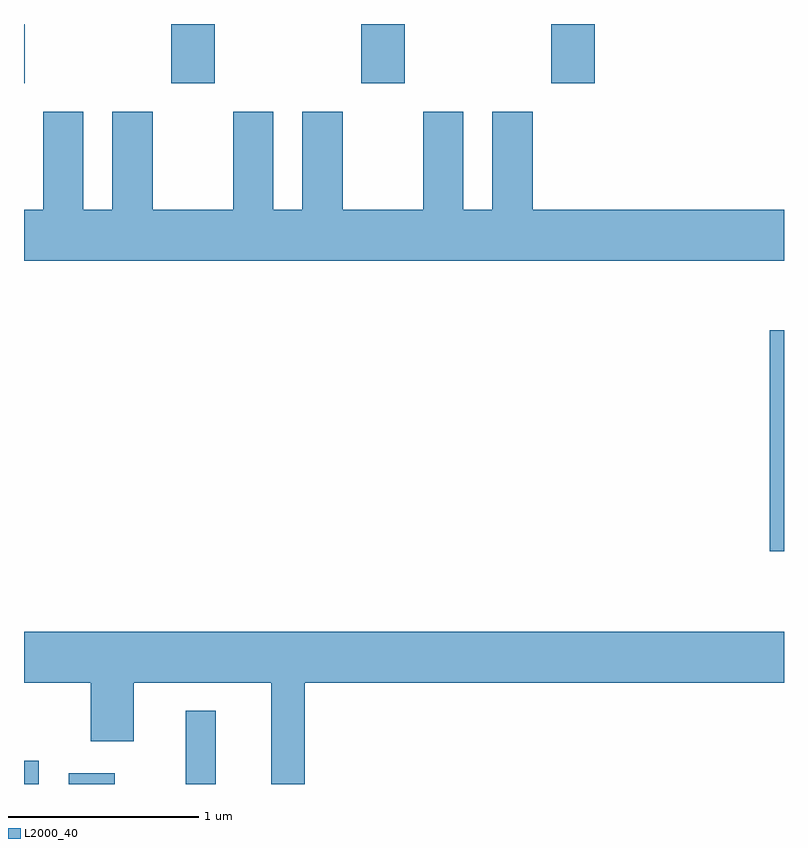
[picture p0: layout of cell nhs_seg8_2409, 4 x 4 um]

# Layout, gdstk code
import gdstk
lib = gdstk.Library(unit=1e-6, precision=1e-09)
def R(c, l, rs):  # rectangles x0, y0, x1, y1
    for r in rs: c.add(gdstk.rectangle(r[:2], r[2:], *l))
def A(c, l, x, y, w, h, nx, ny, dx, dy):  # array of equal rectangles
    R(c, l, [(x+i*dx, y+j*dy, x+i*dx+w, y+j*dy+h) for i in range(nx) for j in range(ny)])
def P(c, l, *ps):  # polygons
    for p in ps: c.add(gdstk.Polygon(p, *l))
L2000_40 = (2000, 40)

nhs_seg8_2409 = lib.new_cell('nhs_seg8_2409')
A(nhs_seg8_2409, L2000_40, 258.386, 1824.031, 0.228, 0.311, 3, 1, 1, 0)
R(nhs_seg8_2409, L2000_40, [(257.611,1820.342,257.689,1820.464), (257.846,1820.342,258.089,1820.399), (258.461,1820.342,258.619,1820.728), (261.536,1821.566,261.611,1822.729), (257.611,1824.031,257.614,1824.342)])
P(nhs_seg8_2409, L2000_40, [(261.611,1823.364),(260.289,1823.364),(260.289,1823.879),(260.076,1823.879),(260.076,1823.364),(259.924,1823.364),(259.924,1823.879),(259.711,1823.879),(259.711,1823.364),(259.289,1823.364),(259.289,1823.879),(259.076,1823.879),(259.076,1823.364),(258.924,1823.364),(258.924,1823.879),(258.711,1823.879),(258.711,1823.364),(258.289,1823.364),(258.289,1823.879),(258.076,1823.879),(258.076,1823.364),(257.924,1823.364),(257.924,1823.879),(257.711,1823.879),(257.711,1823.364),(257.611,1823.364),(257.611,1823.096),(261.611,1823.096)],
  [(257.611,1820.876),(257.961,1820.876),(257.961,1820.566),(258.189,1820.566),(258.189,1820.876),(258.911,1820.876),(258.911,1820.342),(259.089,1820.342),(259.089,1820.876),(261.611,1820.876),(261.611,1821.144),(257.611,1821.144)])

lib.write_gds('nhs_seg8_2409.gds')
